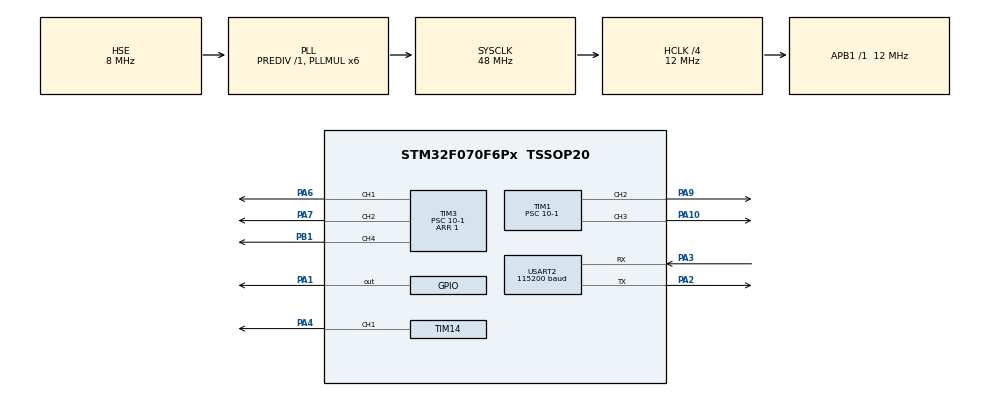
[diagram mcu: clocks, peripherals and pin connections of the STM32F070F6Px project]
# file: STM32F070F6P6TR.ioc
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Dma.Request0=USART2_RX
Dma.USART2_RX.0.Direction=DMA_PERIPH_TO_MEMORY
Dma.USART2_RX.0.Instance=DMA1_Channel5
Dma.USART2_RX.0.MemDataAlignment=DMA_MDATAALIGN_BYTE
Dma.USART2_RX.0.MemInc=DMA_MINC_ENABLE
Dma.USART2_RX.0.Mode=DMA_NORMAL
Dma.USART2_RX.0.PeriphDataAlignment=DMA_PDATAALIGN_BYTE
Dma.USART2_RX.0.PeriphInc=DMA_PINC_DISABLE
Dma.USART2_RX.0.Priority=DMA_PRIORITY_LOW
Mcu.Family=STM32F0
Mcu.Name=STM32F070F6Px
Mcu.Package=TSSOP20
NVIC.DMA1_Channel4_5_IRQn=true\:0\:0\:false\:false\:true\:false\:true\:true
NVIC.USART2_IRQn=true\:0\:0\:false\:false\:true\:true\:true\:true
PA1.Signal=GPIO_Output
PA10.Signal=S_TIM1_CH3
PA13.Mode=Serial_Wire
PA13.Signal=SYS_SWDIO
PA14.Mode=Serial_Wire
PA14.Signal=SYS_SWCLK
PA2.Mode=Asynchronous
PA2.Signal=USART2_TX
PA3.Mode=Asynchronous
PA3.Signal=USART2_RX
PA4.Signal=S_TIM14_CH1
PA6.Signal=S_TIM3_CH1
PA7.Signal=S_TIM3_CH2
PA9.Signal=S_TIM1_CH2
PB1.Signal=S_TIM3_CH4
PF0-OSC_IN.Mode=HSE-External-Oscillator
PF0-OSC_IN.Signal=RCC_OSC_IN
PF1-OSC_OUT.Mode=HSE-External-Oscillator
PF1-OSC_OUT.Signal=RCC_OSC_OUT
ProjectManager.HeapSize=0x200
ProjectManager.StackSize=0x400
ProjectManager.TargetToolchain=STM32CubeIDE
RCC.AHBCLKDivider=RCC_SYSCLK_DIV4
RCC.AHBFreq_Value=12000000
RCC.APB1Freq_Value=12000000
RCC.APB1TimFreq_Value=12000000
RCC.HCLKFreq_Value=12000000
RCC.MSICalibrationValue=0
RCC.PLLMUL=RCC_PLL_MUL6
RCC.PLLSourceVirtual=RCC_PLLSOURCE_HSE
RCC.PWR_Regulator_Voltage_Scale=PWR_REGULATOR_VOLTAGE_SCALE1
RCC.SYSCLKFreq_VALUE=48000000
RCC.SYSCLKSource=RCC_SYSCLKSOURCE_PLLCLK
SH.S_TIM14_CH1.0=TIM14_CH1,PWM Generation1 CH1
SH.S_TIM1_CH2.0=TIM1_CH2,PWM Generation2 CH2
SH.S_TIM1_CH3.0=TIM1_CH3,PWM Generation3 CH3
SH.S_TIM3_CH1.0=TIM3_CH1,PWM Generation1 CH1
SH.S_TIM3_CH2.0=TIM3_CH2,PWM Generation2 CH2
SH.S_TIM3_CH4.0=TIM3_CH4,PWM Generation4 CH4
TIM1.AutoReloadPreload=TIM_AUTORELOAD_PRELOAD_ENABLE
TIM1.Channel-PWM\ Generation2\ CH2=TIM_CHANNEL_2
TIM1.Channel-PWM\ Generation3\ CH3=TIM_CHANNEL_3
TIM1.Period=1
TIM1.Prescaler=10-1
TIM1.RepetitionCounter=1
TIM14.AutoReloadPreload=TIM_AUTORELOAD_PRELOAD_ENABLE
TIM14.Channel=TIM_CHANNEL_1
TIM14.Period=1
TIM14.Prescaler=10-1
TIM3.AutoReloadPreload=TIM_AUTORELOAD_PRELOAD_ENABLE
TIM3.Channel-PWM\ Generation1\ CH1=TIM_CHANNEL_1
TIM3.Channel-PWM\ Generation2\ CH2=TIM_CHANNEL_2
TIM3.Channel-PWM\ Generation4\ CH4=TIM_CHANNEL_4
TIM3.Period=1
TIM3.Prescaler=10-1
USART2.BaudRate=115200
USART2.Parity=PARITY_NONE
USART2.VirtualMode-Asynchronous=VM_ASYNC
VP_TIM14_VS_ClockSourceINT.Mode=Enable_Timer
VP_TIM1_VS_ClockSourceINT.Mode=Internal
VP_TIM3_VS_ClockSourceINT.Mode=Internal
board=custom

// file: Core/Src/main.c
/* USER CODE BEGIN Header */
/**
  ******************************************************************************
  * @file           : main.c
  * @brief          : Main program body
  ******************************************************************************
  * @attention
  *
  * Copyright (c) 2024 STMicroelectronics.
  * All rights reserved.
  *
  * This software is licensed under terms that can be found in the LICENSE file
  * in the root directory of this software component.
  * If no LICENSE file comes with this software, it is provided AS-IS.
  *
  ******************************************************************************
  */
/* USER CODE END Header */
#include "main.h"

/* USER CODE BEGIN Includes */

#include <string.h>
#include <stdio.h>
#include <stdlib.h>

/* USER CODE END Includes */

TIM_HandleTypeDef htim1;
TIM_HandleTypeDef htim3;
TIM_HandleTypeDef htim14;

UART_HandleTypeDef huart2;
DMA_HandleTypeDef hdma_usart2_rx;

void SystemClock_Config(void);
static void MX_GPIO_Init(void);
static void MX_DMA_Init(void);
static void MX_USART2_UART_Init(void);
static void MX_TIM3_Init(void);
static void MX_TIM1_Init(void);
static void MX_TIM14_Init(void);

/* USER CODE BEGIN 0 */

#define max(X, Y) (((X) < (Y)) ? (Y) : (X))
#define min(X, Y) (((X) > (Y)) ? (Y) : (X))

#define UART2_rxBuffer_size 16
uint8_t UART2_rxBuffer[UART2_rxBuffer_size];

#define numMotors 5

uint8_t motorInFocus = 0;
float desiredMotorAngles[numMotors];
float currentMotorAngles[numMotors];
float currentMotorVelocities[numMotors];

// ORIGINAL 180 - 1050
#define motorLoBase 540
#define motorHiBase 3150
const float motorRangeBase = motorHiBase - motorLoBase;

float motorLo[numMotors] = {
		motorLoBase + motorRangeBase*27/255,
		motorLoBase + motorRangeBase*29/255,
		motorLoBase + motorRangeBase*3/255,
		motorLoBase,
		motorLoBase + motorRangeBase*74/255
};

float motorHi[numMotors] = {
		motorHiBase,
		motorLoBase + motorRangeBase*195/255,
		motorLoBase + motorRangeBase*245/255,
		motorHiBase,
		motorLoBase + motorRangeBase*160/255
};

float motorMaxVel[numMotors] = { 10, 8, 5, 20, 50};
float motorVelIncr[numMotors] = { 0.03, 0.03, 0.03, 0.06, 0.50};

float velIncrBase = 0.03, velBase = 0.1;

void updateMotorAngles() {
	TIM3->CCR1 = currentMotorAngles[0];
	TIM3->CCR2 = currentMotorAngles[1];
	TIM3->CCR4 = currentMotorAngles[2];
	TIM14->CCR1 = currentMotorAngles[3];
	TIM1->CCR2 = currentMotorAngles[4];
}

void moveMotorAngles() {
	for(int i=0; i<numMotors; i++) {
		currentMotorAngles[i] += currentMotorVelocities[i];
	}
}

float newVelocity(int32_t motorIdx) {

	float a = 300, b = motorMaxVel[motorIdx];
	float dist = desiredMotorAngles[motorIdx] - currentMotorAngles[motorIdx];

	// Close enough, snap to angle
	if (abs(dist) < 1) {
		currentMotorAngles[motorIdx] = desiredMotorAngles[motorIdx];
		return 0;
	}

	if (dist > 0) {

		return max(velBase, min( currentMotorVelocities[motorIdx] + motorVelIncr[motorIdx], (min(b, b*dist/a)) ) );

	} else if (dist < 0) {
		return min(-velBase, max( currentMotorVelocities[motorIdx] - motorVelIncr[motorIdx], - (min(b, b*(-dist)/a)) ) );

	}
	return 0;

}

void approachMotorAngles() {

	for(int i=0; i<numMotors; i++) {
		currentMotorVelocities[i] = newVelocity(i);
	}
	moveMotorAngles();
	updateMotorAngles();
}

/* USER CODE END 0 */

int main(void)
{

  /* MCU Configuration--------------------------------------------------------*/

  /* Reset of all peripherals, Initializes the Flash interface and the Systick. */
  HAL_Init();

  /* Configure the system clock */
  SystemClock_Config();

  /* Initialize all configured peripherals */
  MX_GPIO_Init();
  MX_DMA_Init();
  MX_USART2_UART_Init();
  MX_TIM3_Init();
  MX_TIM1_Init();
  MX_TIM14_Init();
  /* USER CODE BEGIN 2 */

  // Init motor positions
  TIM3->ARR = 60000;	// 12MHz / 10 (prescaler) / 60000 (ARR) = 20 Hz
  TIM14->ARR = 60000;	// 12MHz / 10 (prescaler) / 60000 (ARR) = 20 Hz
  TIM1->ARR = 60000;	// 12MHz / 10 (prescaler) / 60000 (ARR) = 20 Hz
  for(int i=0; i<numMotors; i++) {
	  desiredMotorAngles[i] = (motorLo[i] + motorHi[i]) / 2.0;
	  currentMotorAngles[i] = desiredMotorAngles[i];
	  currentMotorVelocities[i] = 0;
  }
  updateMotorAngles();

  HAL_TIM_PWM_Start(&htim3, TIM_CHANNEL_1);
  HAL_TIM_PWM_Start(&htim3, TIM_CHANNEL_2);
  HAL_TIM_PWM_Start(&htim3, TIM_CHANNEL_4);
  HAL_TIM_PWM_Start(&htim14, TIM_CHANNEL_1);
  HAL_TIM_PWM_Start(&htim1, TIM_CHANNEL_2);

  HAL_UART_Receive_DMA(&huart2, UART2_rxBuffer, numMotors);

  /* USER CODE END 2 */

  /* Infinite loop */
  /* USER CODE BEGIN WHILE */
  while (1)
  {
	  HAL_Delay(1);
	  approachMotorAngles();

    /* USER CODE END WHILE */

  }
}

void SystemClock_Config(void)
{
  RCC_OscInitTypeDef RCC_OscInitStruct = {0};
  RCC_ClkInitTypeDef RCC_ClkInitStruct = {0};

  /** Initializes the RCC Oscillators according to the specified parameters
  * in the RCC_OscInitTypeDef structure.
  */
  RCC_OscInitStruct.OscillatorType = RCC_OSCILLATORTYPE_HSE;
  RCC_OscInitStruct.HSEState = RCC_HSE_ON;
  RCC_OscInitStruct.PLL.PLLState = RCC_PLL_ON;
  RCC_OscInitStruct.PLL.PLLSource = RCC_PLLSOURCE_HSE;
  RCC_OscInitStruct.PLL.PLLMUL = RCC_PLL_MUL6;
  RCC_OscInitStruct.PLL.PREDIV = RCC_PREDIV_DIV1;
  if (HAL_RCC_OscConfig(&RCC_OscInitStruct) != HAL_OK)
  {
    Error_Handler();
  }

  /** Initializes the CPU, AHB and APB buses clocks
  */
  RCC_ClkInitStruct.ClockType = RCC_CLOCKTYPE_HCLK|RCC_CLOCKTYPE_SYSCLK
                              |RCC_CLOCKTYPE_PCLK1;
  RCC_ClkInitStruct.SYSCLKSource = RCC_SYSCLKSOURCE_PLLCLK;
  RCC_ClkInitStruct.AHBCLKDivider = RCC_SYSCLK_DIV4;
  RCC_ClkInitStruct.APB1CLKDivider = RCC_HCLK_DIV1;

  if (HAL_RCC_ClockConfig(&RCC_ClkInitStruct, FLASH_LATENCY_1) != HAL_OK)
  {
    Error_Handler();
  }
}

static void MX_TIM1_Init(void)
{

  TIM_ClockConfigTypeDef sClockSourceConfig = {0};
  TIM_MasterConfigTypeDef sMasterConfig = {0};
  TIM_OC_InitTypeDef sConfigOC = {0};
  TIM_BreakDeadTimeConfigTypeDef sBreakDeadTimeConfig = {0};

  htim1.Instance = TIM1;
  htim1.Init.Prescaler = 10-1;
  htim1.Init.CounterMode = TIM_COUNTERMODE_UP;
  htim1.Init.Period = 1;
  htim1.Init.ClockDivision = TIM_CLOCKDIVISION_DIV1;
  htim1.Init.RepetitionCounter = 1;
  htim1.Init.AutoReloadPreload = TIM_AUTORELOAD_PRELOAD_ENABLE;
  if (HAL_TIM_Base_Init(&htim1) != HAL_OK)
  {
    Error_Handler();
  }
  sClockSourceConfig.ClockSource = TIM_CLOCKSOURCE_INTERNAL;
  if (HAL_TIM_ConfigClockSource(&htim1, &sClockSourceConfig) != HAL_OK)
  {
    Error_Handler();
  }
  if (HAL_TIM_PWM_Init(&htim1) != HAL_OK)
  {
    Error_Handler();
  }
  sMasterConfig.MasterOutputTrigger = TIM_TRGO_RESET;
  sMasterConfig.MasterSlaveMode = TIM_MASTERSLAVEMODE_DISABLE;
  if (HAL_TIMEx_MasterConfigSynchronization(&htim1, &sMasterConfig) != HAL_OK)
  {
    Error_Handler();
  }
  sConfigOC.OCMode = TIM_OCMODE_PWM1;
  sConfigOC.Pulse = 0;
  sConfigOC.OCPolarity = TIM_OCPOLARITY_HIGH;
  sConfigOC.OCNPolarity = TIM_OCNPOLARITY_HIGH;
  sConfigOC.OCFastMode = TIM_OCFAST_DISABLE;
  sConfigOC.OCIdleState = TIM_OCIDLESTATE_RESET;
  sConfigOC.OCNIdleState = TIM_OCNIDLESTATE_RESET;
  if (HAL_TIM_PWM_ConfigChannel(&htim1, &sConfigOC, TIM_CHANNEL_2) != HAL_OK)
  {
    Error_Handler();
  }
  if (HAL_TIM_PWM_ConfigChannel(&htim1, &sConfigOC, TIM_CHANNEL_3) != HAL_OK)
  {
    Error_Handler();
  }
  sBreakDeadTimeConfig.OffStateRunMode = TIM_OSSR_DISABLE;
  sBreakDeadTimeConfig.OffStateIDLEMode = TIM_OSSI_DISABLE;
  sBreakDeadTimeConfig.LockLevel = TIM_LOCKLEVEL_OFF;
  sBreakDeadTimeConfig.DeadTime = 0;
  sBreakDeadTimeConfig.BreakState = TIM_BREAK_DISABLE;
  sBreakDeadTimeConfig.BreakPolarity = TIM_BREAKPOLARITY_HIGH;
  sBreakDeadTimeConfig.AutomaticOutput = TIM_AUTOMATICOUTPUT_DISABLE;
  if (HAL_TIMEx_ConfigBreakDeadTime(&htim1, &sBreakDeadTimeConfig) != HAL_OK)
  {
    Error_Handler();
  }
  HAL_TIM_MspPostInit(&htim1);

}

static void MX_TIM3_Init(void)
{

  TIM_ClockConfigTypeDef sClockSourceConfig = {0};
  TIM_MasterConfigTypeDef sMasterConfig = {0};
  TIM_OC_InitTypeDef sConfigOC = {0};

  htim3.Instance = TIM3;
  htim3.Init.Prescaler = 10-1;
  htim3.Init.CounterMode = TIM_COUNTERMODE_UP;
  htim3.Init.Period = 1;
  htim3.Init.ClockDivision = TIM_CLOCKDIVISION_DIV1;
  htim3.Init.AutoReloadPreload = TIM_AUTORELOAD_PRELOAD_ENABLE;
  if (HAL_TIM_Base_Init(&htim3) != HAL_OK)
  {
    Error_Handler();
  }
  sClockSourceConfig.ClockSource = TIM_CLOCKSOURCE_INTERNAL;
  if (HAL_TIM_ConfigClockSource(&htim3, &sClockSourceConfig) != HAL_OK)
  {
    Error_Handler();
  }
  if (HAL_TIM_PWM_Init(&htim3) != HAL_OK)
  {
    Error_Handler();
  }
  sMasterConfig.MasterOutputTrigger = TIM_TRGO_RESET;
  sMasterConfig.MasterSlaveMode = TIM_MASTERSLAVEMODE_DISABLE;
  if (HAL_TIMEx_MasterConfigSynchronization(&htim3, &sMasterConfig) != HAL_OK)
  {
    Error_Handler();
  }
  sConfigOC.OCMode = TIM_OCMODE_PWM1;
  sConfigOC.Pulse = 0;
  sConfigOC.OCPolarity = TIM_OCPOLARITY_HIGH;
  sConfigOC.OCFastMode = TIM_OCFAST_DISABLE;
  if (HAL_TIM_PWM_ConfigChannel(&htim3, &sConfigOC, TIM_CHANNEL_1) != HAL_OK)
  {
    Error_Handler();
  }
  if (HAL_TIM_PWM_ConfigChannel(&htim3, &sConfigOC, TIM_CHANNEL_2) != HAL_OK)
  {
    Error_Handler();
  }
  if (HAL_TIM_PWM_ConfigChannel(&htim3, &sConfigOC, TIM_CHANNEL_4) != HAL_OK)
  {
    Error_Handler();
  }
  HAL_TIM_MspPostInit(&htim3);

}

static void MX_TIM14_Init(void)
{

  TIM_OC_InitTypeDef sConfigOC = {0};

  htim14.Instance = TIM14;
  htim14.Init.Prescaler = 10-1;
  htim14.Init.CounterMode = TIM_COUNTERMODE_UP;
  htim14.Init.Period = 1;
  htim14.Init.ClockDivision = TIM_CLOCKDIVISION_DIV1;
  htim14.Init.AutoReloadPreload = TIM_AUTORELOAD_PRELOAD_ENABLE;
  if (HAL_TIM_Base_Init(&htim14) != HAL_OK)
  {
    Error_Handler();
  }
  if (HAL_TIM_PWM_Init(&htim14) != HAL_OK)
  {
    Error_Handler();
  }
  sConfigOC.OCMode = TIM_OCMODE_PWM1;
  sConfigOC.Pulse = 0;
  sConfigOC.OCPolarity = TIM_OCPOLARITY_HIGH;
  sConfigOC.OCFastMode = TIM_OCFAST_DISABLE;
  if (HAL_TIM_PWM_ConfigChannel(&htim14, &sConfigOC, TIM_CHANNEL_1) != HAL_OK)
  {
    Error_Handler();
  }
  HAL_TIM_MspPostInit(&htim14);

}

static void MX_USART2_UART_Init(void)
{

  huart2.Instance = USART2;
  huart2.Init.BaudRate = 115200;
  huart2.Init.WordLength = UART_WORDLENGTH_8B;
  huart2.Init.StopBits = UART_STOPBITS_1;
  huart2.Init.Parity = UART_PARITY_NONE;
  huart2.Init.Mode = UART_MODE_TX_RX;
  huart2.Init.HwFlowCtl = UART_HWCONTROL_NONE;
  huart2.Init.OverSampling = UART_OVERSAMPLING_16;
  huart2.Init.OneBitSampling = UART_ONE_BIT_SAMPLE_DISABLE;
  huart2.AdvancedInit.AdvFeatureInit = UART_ADVFEATURE_NO_INIT;
  if (HAL_UART_Init(&huart2) != HAL_OK)
  {
    Error_Handler();
  }

}

static void MX_DMA_Init(void)
{

  /* DMA controller clock enable */
  __HAL_RCC_DMA1_CLK_ENABLE();

  /* DMA interrupt init */
  /* DMA1_Channel4_5_IRQn interrupt configuration */
  HAL_NVIC_SetPriority(DMA1_Channel4_5_IRQn, 0, 0);
  HAL_NVIC_EnableIRQ(DMA1_Channel4_5_IRQn);

}

static void MX_GPIO_Init(void)
{
  GPIO_InitTypeDef GPIO_InitStruct = {0};

  /* GPIO Ports Clock Enable */
  __HAL_RCC_GPIOF_CLK_ENABLE();
  __HAL_RCC_GPIOA_CLK_ENABLE();
  __HAL_RCC_GPIOB_CLK_ENABLE();

  /*Configure GPIO pin Output Level */
  HAL_GPIO_WritePin(GPIOA, GPIO_PIN_1, GPIO_PIN_RESET);

  /*Configure GPIO pin : PA1 */
  GPIO_InitStruct.Pin = GPIO_PIN_1;
  GPIO_InitStruct.Mode = GPIO_MODE_OUTPUT_PP;
  GPIO_InitStruct.Pull = GPIO_NOPULL;
  GPIO_InitStruct.Speed = GPIO_SPEED_FREQ_LOW;
  HAL_GPIO_Init(GPIOA, &GPIO_InitStruct);

}

/* USER CODE BEGIN 4 */

//uint8_t out_buff_2[128] = "Button received.\n\r";

void HAL_UART_RxCpltCallback(UART_HandleTypeDef *huart)
{

	for(int i=0; i<numMotors; i++) {
		float value = (float)(UART2_rxBuffer[i]) / 255.0;
		desiredMotorAngles[i] = motorLo[i] + (motorHi[i]-motorLo[i])*value;
	}

	HAL_UART_Receive_DMA(&huart2, UART2_rxBuffer, numMotors);
}

/* USER CODE END 4 */

void Error_Handler(void)
{
  __disable_irq();
  while (1)
  {
  }
}
